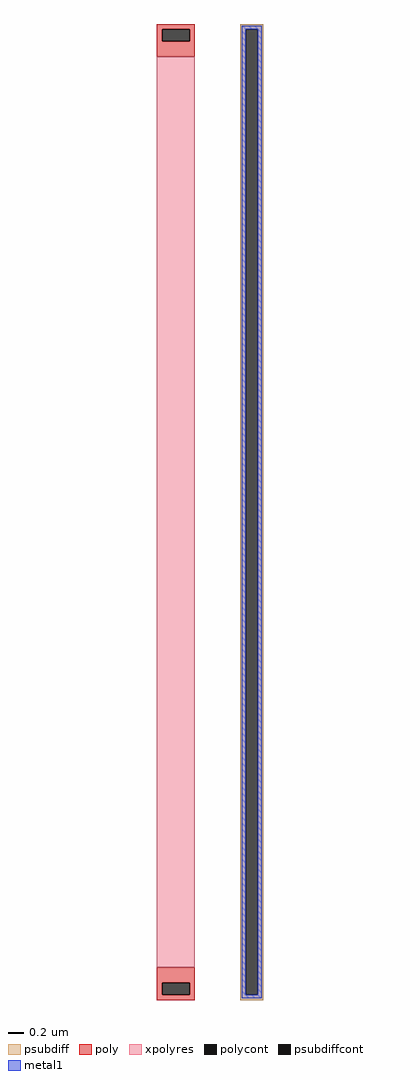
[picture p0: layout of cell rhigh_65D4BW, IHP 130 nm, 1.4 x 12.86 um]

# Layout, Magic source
magic
tech ihp-sg13g2
<< psubdiff >>
rect 85 636 115 643
rect 85 -636 92 636
rect 108 -636 115 636
rect 85 -643 115 -636
<< psubdiffcont >>
rect 92 -636 108 636
<< poly >>
rect -25 636 25 643
rect -25 620 -18 636
rect 18 620 25 636
rect -25 600 25 620
rect -25 -620 25 -600
rect -25 -636 -18 -620
rect 18 -636 25 -620
rect -25 -643 25 -636
<< polycont >>
rect -18 620 18 636
rect -18 -636 18 -620
<< xpolyres >>
rect -25 -600 25 600
<< metal1 >>
rect 87 636 113 641
rect 87 -636 92 636
rect 108 -636 113 636
rect 87 -641 113 -636
<< properties >>
string gencell rhigh
string library sg13g2_devstdin
string parameters w 0.5 l 12 nx 1 dx 0.18 ny 1 dy 0.18 wmin 0.50 lmin 0.50 class resistor endcov 0 glc 0 grc 1 gtc 0 gbc 0
<< end >>
